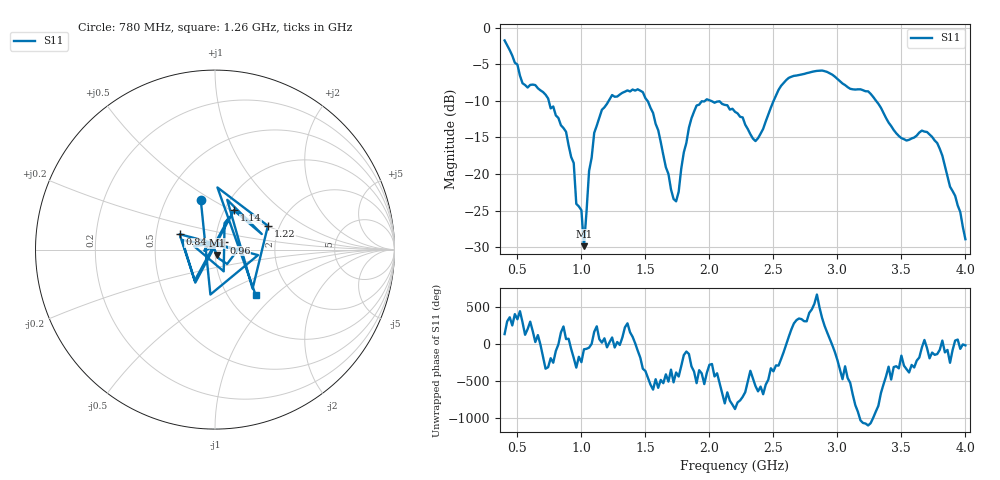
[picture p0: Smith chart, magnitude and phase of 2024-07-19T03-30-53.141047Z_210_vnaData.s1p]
!Created with skrf (http://scikit-rf.org).
# Hz S RI R 50.0
!freq ReS11 ImS11
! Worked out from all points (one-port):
!   181 points, 400 MHz to 4 GHz, reference 50 ohm
!   lowest |S11| = -29.9 dB at 1.02 GHz (marker M1), VSWR 1.07, Z = 50.9 - j3.11 ohm
!   |S11| at or under -10 dB: 744.9 MHz to 1.214 GHz (468.7 MHz wide, 47.9 % of centre); 2.012 GHz to 2.501 GHz (489.2 MHz wide, 21.7 % of centre); 3.302 GHz to end of sweep (the widest 3 of 4)
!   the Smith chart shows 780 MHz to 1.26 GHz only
!   S11 on the Smith chart (normalised r, x): 780 MHz: 0.74, +0.45; 840 MHz: 0.66, +0.12; 960 MHz: 1.10, +0.09; 1.14 GHz: 1.11, +0.52; 1.22 GHz: 1.74, +0.51; 1.26 GHz: 1.34, -0.76
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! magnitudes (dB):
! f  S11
! 400 MHz  -1.7
! 540 MHz  -7.6
! 780 MHz  -10.8
! 840 MHz  -13.3
! 860 MHz  -13.7
! 940 MHz  -18.5
! 960 MHz  -24.1
! 1 GHz  -25.0
! 1.02 GHz  -29.9
! 1.06 GHz  -19.6
! 1.14 GHz  -12.3
! 1.22 GHz  -9.8
! 1.26 GHz  -9.4
! 1.3 GHz  -9.1
! 1.48 GHz  -8.8
! 1.6 GHz  -14.0
! 1.72 GHz  -23.4
! 1.76 GHz  -22.4
! 1.84 GHz  -13.7
! 1.9 GHz  -10.6
! 2.2 GHz  -11.5
! 2.36 GHz  -15.5
! 2.66 GHz  -6.6
! 3.1 GHz  -8.3
! 3.24 GHz  -8.7
! 3.56 GHz  -15.3
! 3.78 GHz  -15.8
! 4 GHz  -28.9
